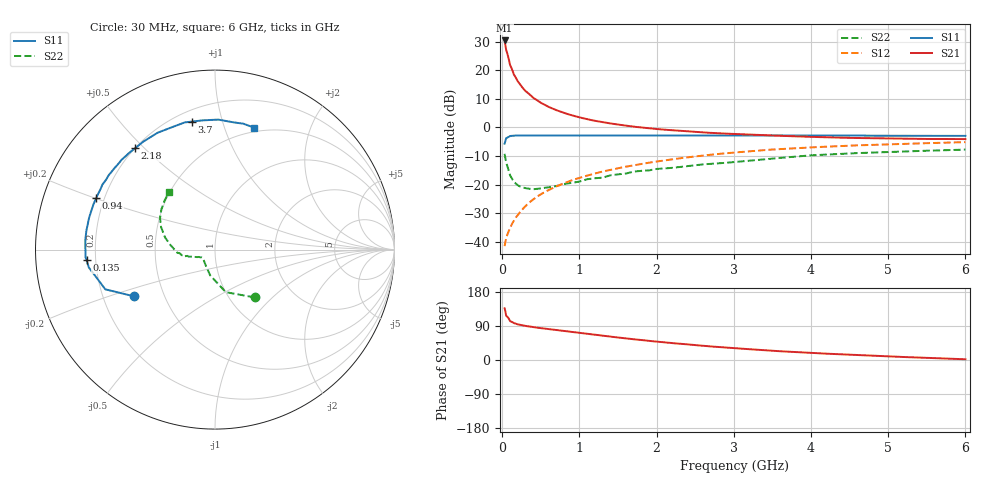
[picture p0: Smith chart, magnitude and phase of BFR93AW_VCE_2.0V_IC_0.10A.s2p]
! Infineon Technologies  Discrete & RF Semiconductors
! BFR93AW
! VCE =  2.0 V,  IC = 0.10 A
! Common Emitter S-Parameters:  Nov 2015
# GHz  S  MA  R  50
!  f  S11  S21  S12  S22
! GHz  MAG  ANG  MAG  ANG  MAG  ANG  MAG  ANG
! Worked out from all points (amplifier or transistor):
!   206 points, 30 MHz to 6 GHz, reference 50 ohm
!   highest |S21| = 30.4 dB at 30 MHz (marker M1)
!   |S21| within 3 dB of that: start of sweep to 48.37 MHz
!   unconditionally stable (mu >= 1): start of sweep to end of sweep
!   at 200 MHz: K = 1.37, MAG = 19.8 dB, |S12| = -30.6 dB
!   at 1.56 GHz: K = 1.27, MAG = 4.2 dB, |S12| = -13.9 dB
!   at 6 GHz: K = 1.05, MAG = -0.9 dB, |S12| = -5.1 dB
!   S11 on the Smith chart (normalised r, x): 30 MHz: 0.33, -0.24; 135 MHz: 0.16, -0.04; 940 MHz: 0.17, +0.20; 2.18 GHz: 0.20, +0.47; 3.7 GHz: 0.27, +0.80; 6 GHz: 0.46, +1.26
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0.03  0.5225 -150.2  33.29 136.3  0.0084 59.0  0.3462 -50.3
0.05  0.6502 -160.1  22.84 116.7  0.0118 56.3  0.2447 -75.8
0.1  0.7098 -171.9  12.47 102.7  0.0173 63.3  0.1466 -100.3
0.135  0.718 -175.2  9.658 99.4  0.0217 66.7  0.1213 -109.4
0.15  0.7223 -176.5  8.465 97.4  0.0236 67.7  0.1117 -114.5
0.2  0.7225 -179.9  6.438 94.0  0.0294 70.4  0.0978 -123.6
0.24  0.7229 177.9  5.429 92.3  0.0343 71.7  0.0914 -129.3
0.3  0.7244 175.5  4.351 89.8  0.0421 73.9  0.0869 -135.4
0.4  0.7243 171.7  3.312 86.8  0.0551 75.0  0.0831 -143.4
0.5  0.7228 168.4  2.7 84.0  0.068 75.0  0.0862 -149.2
0.6  0.7236 165.8  2.293 81.5  0.0805 75.2  0.0894 -151.5
0.8  0.7226 159.9  1.793 76.4  0.1059 73.7  0.1028 -156.6
0.94  0.7218 156.4  1.58 72.9  0.1241 72.5  0.1097 -157.8
1.04  0.7213 153.7  1.46 70.5  0.1365 71.5  0.1177 -159.6
1.44  0.7223 144.3  1.156 60.7  0.1863 67.3  0.148 -164.4
2.02  0.7204 131.6  0.935 48.0  0.2565 60.4  0.1891 -170.8
2.18  0.719 128.2  0.9 45.0  0.2759 58.4  0.1959 -173.6
3.1  0.7226 110.4  0.76 29.9  0.3735 46.6  0.255 172.7
3.7  0.7247 100.3  0.708 22.0  0.4263 38.9  0.3013 162.4
4.1  0.7227 94.1  0.68 17.6  0.4557 33.9  0.3309 155.8
5.1  0.7164 81.5  0.64 8.7  0.5124 22.7  0.3767 141.6
6  0.7137 72.3  0.627 1.9  0.5551 13.9  0.4104 128.8
